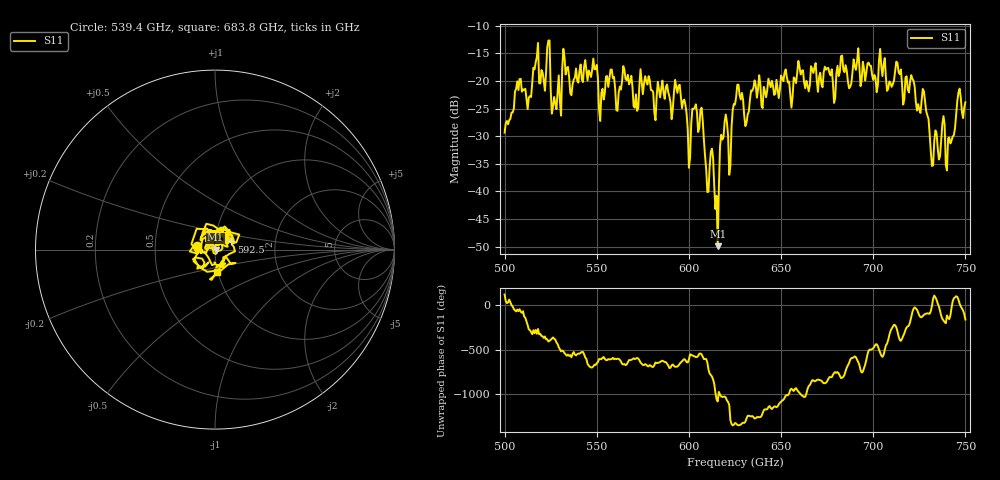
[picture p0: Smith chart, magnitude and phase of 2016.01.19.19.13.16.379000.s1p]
!Created with skrf (http://scikit-rf.org).
# GHz S RI R 50.0
!freq ReS11 ImS11
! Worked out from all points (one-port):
!   401 points, 500 GHz to 750 GHz, reference 50 ohm
!   lowest |S11| = -49.9 dB at 615.6 GHz (marker M1), VSWR 1.01, Z = 50.3 - j0.0125 ohm
!   |S11| at or under -10 dB: start of sweep to end of sweep
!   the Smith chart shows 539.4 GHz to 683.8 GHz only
!   S11 on the Smith chart (normalised r, x): 539.4 GHz: 0.82, +0.03; 592.5 GHz: 1.20, +0.11; 683.8 GHz: 0.99, -0.25
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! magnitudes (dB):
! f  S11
! 500 GHz  -29.4
! 507.5 GHz  -21.7
! 513.1 GHz  -23.0
! 516.9 GHz  -16.6
! 523.8 GHz  -12.7
! 526.9 GHz  -22.9
! 531.2 GHz  -17.8
! 539.4 GHz  -19.9
! 562.5 GHz  -21.0
! 592.5 GHz  -19.8
! 593.8 GHz  -22.2
! 600 GHz  -35.7
! 603.1 GHz  -24.8
! 606.9 GHz  -24.8
! 609.4 GHz  -36.0
! 615.6 GHz  -49.9
! 618.1 GHz  -30.6
! 622.5 GHz  -35.3
! 625 GHz  -24.3
! 656.2 GHz  -22.8
! 683.8 GHz  -17.9
! 687.5 GHz  -21.1
! 690.6 GHz  -18.0
! 718.8 GHz  -21.6
! 728.1 GHz  -23.8
! 731.9 GHz  -35.4
! 740.6 GHz  -30.4
! 750 GHz  -23.9
